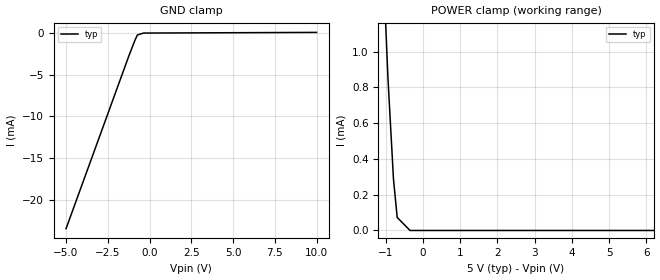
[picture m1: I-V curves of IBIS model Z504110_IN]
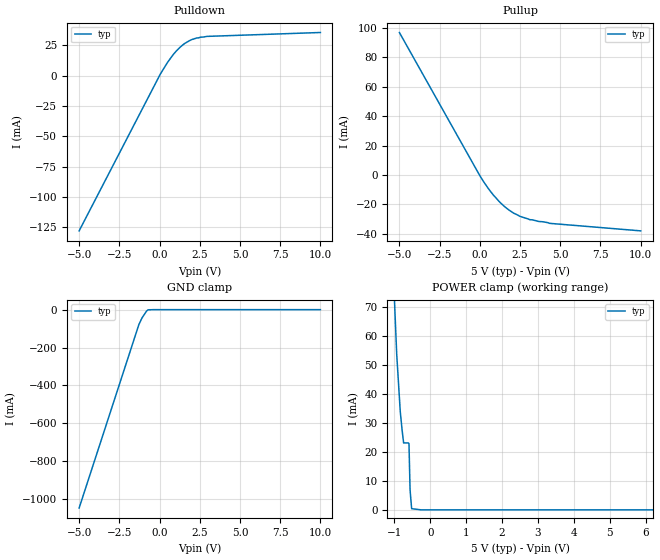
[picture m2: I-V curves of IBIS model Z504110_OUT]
| YOU ARE ONLY AUTHORIZED TO USE THIS SOFTWARE
| ACCORDING TO LICENSOR'S LICENSE RESTRICTIONS.
[IBIS Ver] 3.1
[File Name] mc54hc51j.ibs
[File Rev] 2.0
[Source] Measured and created by ICX Technology
[Date] Friday 7/14/00 9:08:07 AM
[Copyright]
| (C) COPYRIGHT 1993-2000
| MENTOR GRAPHICS CORPORATION
| ICX STANDARD LIBRARY, ICX PROJECT MODELING,
| ICX CUSTOM MODELING, ICX VENDOR MODEL
| ALL RIGHTS RESERVED.
| THE FOLLOWING ARE TRADEMARKS OR SERVICE MARKS OF
| MENTOR GRAPHICS CORPORATION:ICX (R), ICX STANDARD
| LIBRARY(R), ICX PROJECT MODELING(R), ICX CUSTOM
| MODELING(R), qualityIBIS(TM), MODELVIEWER(TM),
| AND MODELEDITOR(TM)
| ALL COPIES OF SOFTWARE, INCLUDING BUT NOT LIMITED TO
| ANY MODIFICATIONS, ENHANCEMENTS OR DERIVATIVE WORKS,
| MUST CONTAIN ALL MENTOR GRAPHICS CORPORATION'S
| NOTICES AND LEGENDS, INCLUDING THOSE EMBEDDED IN
| SOFTWARE AND THOSE AFFIXED TO SOFTWARE MEDIUM
| AND CONTAINER, AS RECEIVED FROM MENTOR GRAPHICS
| CORPORATION.
|  ZAP Model Builder 2.7
[Component] MC54HC51J
[Manufacturer] OnSemiconductor
[Package]
| variable   typ   min   max
R_pkg  .21ohms NA NA
L_pkg  4.543nH NA NA
C_pkg  1.8pF NA NA
[Pin] signal_name  model_name  R_pin  L_pin C_pin
1 A0 Z504110_IN .22 6.757n 2.434p
2 A1 Z504110_IN .212 4.757n 1.941p
3 B1 Z504110_IN .204 3.257n 1.448p
4 C1 Z504110_IN .196 2.257n .955p
5 D1 Z504110_IN .204 3.257n 1.448p
6 _Y1 Z504110_OUT .212 4.757n 1.941p
7 GND GND .22 6.757n 2.434p
8 _Y0 Z504110_OUT .22 6.757n 2.434p
9 D0 Z504110_IN .212 4.757n 1.941p
10 E0 Z504110_IN .204 3.257n 1.448p
11 F0 Z504110_IN .196 2.257n .955p
12 B0 Z504110_IN .204 3.257n 1.448p
13 C0 Z504110_IN .212 4.757n 1.941p
14 VCC POWER .22 6.757n 2.434p
| Models and submodels in the file (2): Z504110_IN (Input), Z504110_OUT (Output)
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| (C) COPYRIGHT 1993-2000
| MENTOR GRAPHICS CORPORATION
| ICX STANDARD LIBRARY, ICX PROJECT MODELING,
| ICX CUSTOM MODELING, ICX VENDOR MODEL
| ALL RIGHTS RESERVED.
| THE FOLLOWING ARE TRADEMARKS OR SERVICE MARKS OF
| MENTOR GRAPHICS CORPORATION:ICX (R), ICX STANDARD
| LIBRARY(R), ICX PROJECT MODELING(R), ICX CUSTOM
| MODELING(R), qualityIBIS(TM), MODELVIEWER(TM),
| AND MODELEDITOR(TM)
| ALL COPIES OF SOFTWARE, INCLUDING BUT NOT LIMITED TO
| ANY MODIFICATIONS, ENHANCEMENTS OR DERIVATIVE WORKS,
| MUST CONTAIN ALL MENTOR GRAPHICS CORPORATION'S
| NOTICES AND LEGENDS, INCLUDING THOSE EMBEDDED IN
| SOFTWARE AND THOSE AFFIXED TO SOFTWARE MEDIUM
| AND CONTAINER, AS RECEIVED FROM MENTOR GRAPHICS
| CORPORATION.
| Model Application Version 1.89 2/18/99.
[Model] Z504110_IN
Model_type Input
Vinl = 1.000V
Vinh = 3.500V
C_comp 4.000pF NA NA
| variable typ   min   max
[Voltage Range] 5.000V NA NA
[GND Clamp Reference] 0.000V NA NA
[POWER Clamp Reference] 5.000V NA NA
[GND Clamp]
-5V       -23.49mA   NA         NA
-1.24V    -2.781mA   NA         NA
-878.9mV  -915.3uA   NA         NA
-728.8mV  -263.1uA   NA         NA
-364.4mV  -29.24uA   NA         NA
10V       50.56uA    NA         NA
[POWER Clamp]
-5V       22.75mA    NA         NA
-1.211V   2.193mA    NA         NA
-941mV    859.6uA    NA         NA
-791mV    287.4uA    NA         NA
-691mV    72.7uA     NA         NA
-345.5mV  0A         NA         NA
10V       0A         NA         NA
| (C) COPYRIGHT 1993-2000
| MENTOR GRAPHICS CORPORATION
| ICX STANDARD LIBRARY, ICX PROJECT MODELING,
| ICX CUSTOM MODELING, ICX VENDOR MODEL
| ALL RIGHTS RESERVED.
| THE FOLLOWING ARE TRADEMARKS OR SERVICE MARKS OF
| MENTOR GRAPHICS CORPORATION:ICX (R), ICX STANDARD
| LIBRARY(R), ICX PROJECT MODELING(R), ICX CUSTOM
| MODELING(R), qualityIBIS(TM), MODELVIEWER(TM),
| AND MODELEDITOR(TM)
| ALL COPIES OF SOFTWARE, INCLUDING BUT NOT LIMITED TO
| ANY MODIFICATIONS, ENHANCEMENTS OR DERIVATIVE WORKS,
| MUST CONTAIN ALL MENTOR GRAPHICS CORPORATION'S
| NOTICES AND LEGENDS, INCLUDING THOSE EMBEDDED IN
| SOFTWARE AND THOSE AFFIXED TO SOFTWARE MEDIUM
| AND CONTAINER, AS RECEIVED FROM MENTOR GRAPHICS
| CORPORATION.
| Model Application Version 1.89 2/18/99.
[Model] Z504110_OUT
Model_type Output
Vref=0.000V
Rref=500.0Mohms
Cref=50.00pF
Vmeas=2.500V
C_comp 8.000pF NA NA
| variable typ   min   max
[Voltage Range] 5.000V NA NA
[POWER Clamp Reference] 5.000V NA NA
[Pullup Reference] 5.000V NA NA
[Pulldown Reference] 0.000V NA NA
[GND Clamp Reference] 0.000V NA NA
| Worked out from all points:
|   slope of the pulldown table from 0 to 0.75 V, typ, clamps not added: 48.4 ohm
|   slope of the pullup table from 0 to 0.75 V, typ, clamps not added: 62.9 ohm
|   GND clamp passes 1 mA (typ) near -0.71 V on its own axis
|   POWER clamp passes 1 mA (typ) near -0.53 V on its own axis
[GND Clamp]
-5V       -1.047A    NA         NA
-1.288V   -79.39mA   NA         NA
-1.093V   -43.99mA   NA         NA
-800.6mV  -6.847mA   NA         NA
-711.8mV  -985.1uA   NA         NA
-355.9mV  0A         NA         NA
10V       0A         NA         NA
[Pulldown]
-5V       -128.1mA   NA         NA
46.2mV    1.319mA    NA         NA
512.7mV   11.38mA    NA         NA
884.5mV   18.04mA    NA         NA
1.455V    25.58mA    NA         NA
2.031V    30.03mA    NA         NA
2.944V    32.5mA     NA         NA
10V       35.72mA    NA         NA
[Pullup]
-5V       96.93mA    NA         NA
20mV      -870.6uA   NA         NA
826mV     -13.49mA   NA         NA
1.558V    -21.76mA   NA         NA
2.109V    -26.06mA   NA         NA
2.485V    -28.16mA   NA         NA
3.103V    -30.47mA   NA         NA
3.662V    -31.7mA    NA         NA
4.336V    -32.97mA   NA         NA
10V       -38.09mA   NA         NA
[POWER Clamp]
-5V       1.623A     NA         NA
-1.101V   102.3mA    NA         NA
-938mV    53.73mA    NA         NA
-840mV    34.13mA    NA         NA
-789mV    27.71mA    NA         NA
-745.8mV  23.14mA    NA         NA
-616mV    23.14mA    NA         NA
-596mV    22.89mA    NA         NA
-566mV    6.924mA    NA         NA
-522mV    401.2uA    NA         NA
-261mV    0A         NA         NA
10V       0A         NA         NA
[Ramp]
| variable typ min max
dV/dt_r 2.695/2.645n NA NA
dV/dt_f 2.695/2.545n NA NA
R_load = 500.0Ohms
